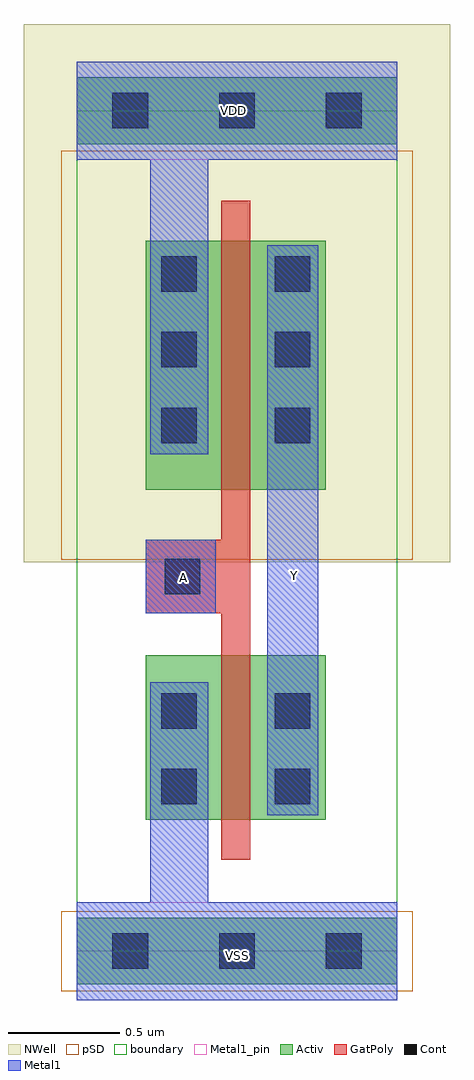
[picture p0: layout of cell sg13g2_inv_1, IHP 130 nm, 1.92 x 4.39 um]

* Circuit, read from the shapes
.subckt sg13g2_inv_1 A VDD VSS Y
XM1 Y A VSS VSS sg13_lv_nmos w=0.74u l=0.13u
XM2 Y A VDD VDD sg13_lv_pmos w=1.12u l=0.13u
.ends

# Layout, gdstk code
import gdstk
lib = gdstk.Library(unit=1e-6, precision=1e-09)
def R(c, l, rs):  # rectangles x0, y0, x1, y1
    for r in rs: c.add(gdstk.rectangle(r[:2], r[2:], *l))
def A(c, l, x, y, w, h, nx, ny, dx, dy):  # array of equal rectangles
    R(c, l, [(x+i*dx, y+j*dy, x+i*dx+w, y+j*dy+h) for i in range(nx) for j in range(ny)])
def P(c, l, *ps):  # polygons
    for p in ps: c.add(gdstk.Polygon(p, *l))
Activ = (1, 0)
GatPoly = (5, 0)
Cont = (6, 0)
Metal1 = (8, 0)
Metal1_pin = (8, 2)
pSD = (14, 0)
NWell = (31, 0)
boundary = (189, 4)

sg13g2_inv_1 = lib.new_cell('sg13g2_inv_1')
R(sg13g2_inv_1, Activ, [(0,-0.15,1.44,0.15), (0.31,0.59,1.12,1.33), (0.31,2.075,1.12,3.195), (0,3.63,1.44,3.93)])
P(sg13g2_inv_1, GatPoly, [(0.65,0.41),(0.65,1.52),(0.31,1.52),(0.31,1.85),(0.65,1.85),(0.65,3.375),(0.78,3.375),(0.78,0.41)])
A(sg13g2_inv_1, Cont, 0.16, -0.08, 0.16, 0.16, 3, 2, 0.48, 3.78)
A(sg13g2_inv_1, Cont, 0.38, 2.285, 0.16, 0.16, 1, 3, 0, 0.34)
A(sg13g2_inv_1, Cont, 0.89, 2.285, 0.16, 0.16, 1, 3, 0, 0.34)
R(sg13g2_inv_1, Cont, [(0.38,0.66,0.54,0.82), (0.89,0.66,1.05,0.82), (0.38,1,0.54,1.16), (0.89,1,1.05,1.16), (0.395,1.605,0.555,1.765)])
R(sg13g2_inv_1, Metal1, [(0.855,0.61,1.085,3.175), (0.31,1.52,0.625,1.85)])
P(sg13g2_inv_1, Metal1, [(0.33,2.235),(0.33,3.56),(0,3.56),(0,4),(1.44,4),(1.44,3.56),(0.59,3.56),(0.59,2.235)],
  [(0,-0.22),(0,0.22),(0.33,0.22),(0.33,1.21),(0.59,1.21),(0.59,0.22),(1.44,0.22),(1.44,-0.22)])
R(sg13g2_inv_1, Metal1_pin, [(0,-0.22,1.44,0.22), (0.855,0.61,1.085,3.175), (0.31,1.52,0.625,1.85), (0,3.56,1.44,4)])
R(sg13g2_inv_1, pSD, [(-0.07,-0.18,1.51,0.18), (-0.07,1.76,1.51,3.6)])
R(sg13g2_inv_1, NWell, [(-0.24,1.75,1.68,4.17)])
R(sg13g2_inv_1, boundary, [(0,0,1.44,3.78)])
sg13g2_inv_1.add(gdstk.Label('A', (0.48,1.68), layer=8, texttype=25))
sg13g2_inv_1.add(gdstk.Label('Y', (0.98,1.69), layer=8, texttype=25))
sg13g2_inv_1.add(gdstk.Label('VSS', (0.72,-0.02), layer=8, texttype=25))
sg13g2_inv_1.add(gdstk.Label('VDD', (0.705,3.78), layer=8, texttype=25))

lib.write_gds('sg13g2_inv_1.gds')
